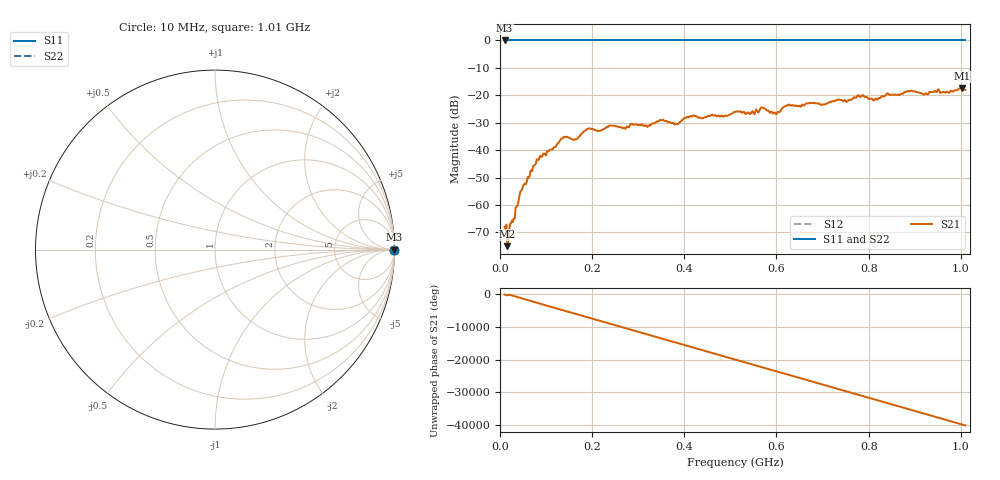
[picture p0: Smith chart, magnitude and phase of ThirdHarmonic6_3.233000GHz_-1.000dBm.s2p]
! 8/17/2025 9:54:17 AM
! C:\ANRITSUVNA\TEMP\TEMP.S2P
! CHANNEL.1
! TR.MEASUREMENT
! RAW.DATA
! RF.CORRECTION.OFF
! AVERAGING.OFF
! IF.BANDWIDTH: 5KHZ
! SWEEPTYPE:  FREQ.SWEEP(Linear)
! Reference Plane Port Info
! PORT:  PORT1  PORT2
! DISTANCE:  0  m  0  m
! TIME:  0  s  0  s
! PHASE.OFFSET:  0  deg.  0  deg.
! LOSS:  0  dB  0  dB
! REF.LOSS:  0  dB  0  dB
! REF.FREQ:  0  Hz  0  Hz
! Power Info
! POWER:  -20  dBm  -20  dBm
! EFF.POWER:  -20  dBm  -20  dBm
! SOURCE.ATTEN:  0  dB  0  dB
! TEST.ATTEN:  0  dB  0  dB
# GHZ S RI R 50.0
! FREQ.GHZ  S11RE  S11IM  S21RE  S21IM  S12RE  S12IM  S22RE  S22IM
!; PortSelection: Port_12
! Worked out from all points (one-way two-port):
!   501 points, 10 MHz to 1.01 GHz, reference 50 ohm
!   highest |S21| = -17.39 dB at 1.002 GHz (marker M1); lowest = -75.0 dB at 16 MHz (marker M2)
!   lowest |S11| = 0.0 dB at 10 MHz (marker M3)
!   |S11| at or under -10 dB: nowhere
!   |S22| runs from 0.0 to 0.0 dB; largest |S21 - S12| = 1.1
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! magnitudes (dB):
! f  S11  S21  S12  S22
! 10 MHz  0.0  -68.0  0.0  0.0
! 16 MHz  0.0  -75.0  0.0  0.0
! 20 MHz  0.0  -69.3  0.0  0.0
! 48 MHz  0.0  -54.3  0.0  0.0
! 84 MHz  0.0  -43.6  0.0  0.0
! 136 MHz  0.0  -35.7  0.0  0.0
! 164 MHz  0.0  -36.1  0.0  0.0
! 178 MHz  0.0  -33.8  0.0  0.0
! 344 MHz  0.0  -29.5  0.0  0.0
! 382 MHz  0.0  -30.4  0.0  0.0
! 416 MHz  0.0  -27.8  0.0  0.0
! 510 MHz  0.0  -26.1  0.0  0.0
! 548 MHz  0.0  -25.8  0.0  0.0
! 570 MHz  0.0  -24.5  0.0  0.0
! 596 MHz  0.0  -26.2  0.0  0.0
! 624 MHz  0.0  -23.7  0.0  0.0
! 678 MHz  0.0  -22.9  0.0  0.0
! 782 MHz  0.0  -20.6  0.0  0.0
! 814 MHz  0.0  -21.4  0.0  0.0
! 844 MHz  0.0  -19.7  0.0  0.0
! 1.002 GHz  0.0  -17.4  0.0  0.0
! 1.01 GHz  0.0  -18.0  0.0  0.0
